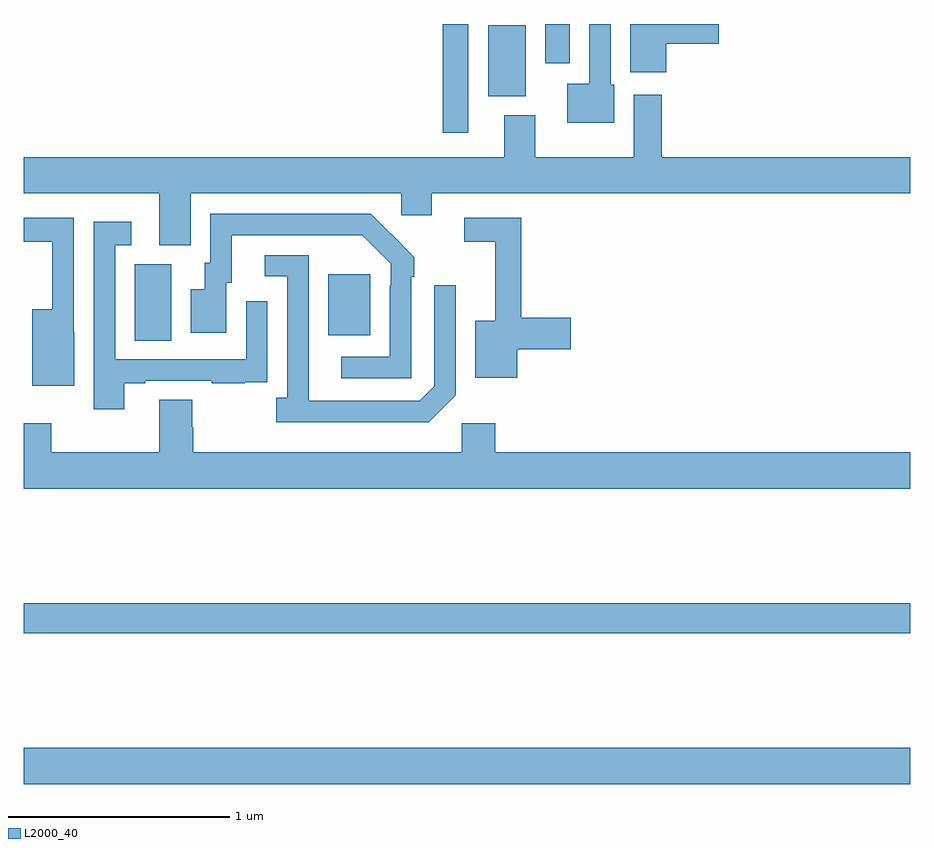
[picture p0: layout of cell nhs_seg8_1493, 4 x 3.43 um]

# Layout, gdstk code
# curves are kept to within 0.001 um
import gdstk
lib = gdstk.Library(unit=1e-6, precision=1e-09)
def R(c, l, rs):  # rectangles x0, y0, x1, y1
    for r in rs: c.add(gdstk.rectangle(r[:2], r[2:], *l))
def P(c, l, *ps):  # polygons
    for p in ps: c.add(gdstk.Polygon(p, *l))
L2000_40 = (2000, 40)

nhs_seg8_1493 = lib.new_cell('nhs_seg8_1493')
R(nhs_seg8_1493, L2000_40, [(205,1144.472,209,1144.636), (205,1145.152,209,1145.288), (205.502,1146.472,205.666,1146.816), (206.375,1146.497,206.563,1146.772), (206.89,1147.41,207.006,1147.9), (207.095,1147.574,207.265,1147.894), (207.353,1147.722,207.463,1147.9)])
P(nhs_seg8_1493, L2000_40, [(207.899,1147.811),(208.135,1147.811),(208.135,1147.9),(207.737,1147.9),(207.737,1147.683),(207.899,1147.683)],
  [(207.664,1147.626),(207.648,1147.626),(207.648,1147.9),(207.552,1147.9),(207.552,1147.63),(207.452,1147.63),(207.452,1147.454),(207.664,1147.454)],
  [(205.753,1147.136),(206.703,1147.136),(206.703,1147.038),(206.842,1147.038),(206.842,1147.136),(209,1147.136),(209,1147.3),(207.878,1147.3),(207.878,1147.582),(207.752,1147.582),(207.752,1147.3),(207.307,1147.3),(207.307,1147.489),(207.167,1147.489),(207.167,1147.3),(205,1147.3),(205,1147.136),(205.613,1147.136),(205.613,1146.901),(205.753,1146.901)],
  [(206.748,1146.761),(206.763,1146.761),(206.763,1146.849),(206.566,1147.044),(205.842,1147.044),(205.842,1146.822),(205.817,1146.822),(205.817,1146.703),(205.754,1146.703),(205.754,1146.507),(205.915,1146.507),(205.915,1146.732),(205.939,1146.732),(205.939,1146.948),(206.527,1146.948),(206.655,1146.819),(206.655,1146.719),(206.652,1146.719),(206.652,1146.399),(206.433,1146.399),(206.433,1146.303),(206.748,1146.303)],
  [(205.228,1146.509),(205.227,1146.509),(205.227,1147.026),(205,1147.026),(205,1146.918),(205.13,1146.918),(205.13,1146.613),(205.04,1146.613),(205.04,1146.269),(205.228,1146.269)],
  [(207.226,1146.433),(207.469,1146.433),(207.469,1146.575),(207.245,1146.575),(207.245,1147.026),(206.988,1147.026),(206.988,1146.918),(207.128,1146.918),(207.128,1146.562),(207.038,1146.562),(207.038,1146.305),(207.226,1146.305)],
  [(205.453,1146.279),(205.549,1146.279),(205.549,1146.291),(205.849,1146.291),(205.849,1146.279),(205.997,1146.279),(205.997,1146.285),(206.099,1146.285),(206.099,1146.394),(206.1,1146.394),(206.1,1146.649),(206.004,1146.649),(206.004,1146.387),(205.413,1146.387),(205.413,1146.903),(205.486,1146.903),(205.486,1147.009),(205.317,1147.009),(205.317,1146.162),(205.453,1146.162)],
  [(206.949,1146.225),(206.949,1146.721),(206.853,1146.721),(206.853,1146.267),(206.787,1146.201),(206.287,1146.201),(206.286,1146.858),(206.088,1146.858),(206.088,1146.762),(206.19,1146.762),(206.19,1146.214),(206.139,1146.214),(206.139,1146.104),(206.828,1146.104)],
  [(209,1145.968),(207.128,1145.968),(207.128,1146.1),(206.976,1146.1),(206.976,1145.968),(205.766,1145.968),(205.766,1146.081),(205.761,1146.081),(205.761,1146.206),(205.613,1146.206),(205.613,1145.968),(205.125,1145.968),(205.125,1146.1),(205,1146.1),(205,1145.804),(209,1145.804)])

lib.write_gds('nhs_seg8_1493.gds')
